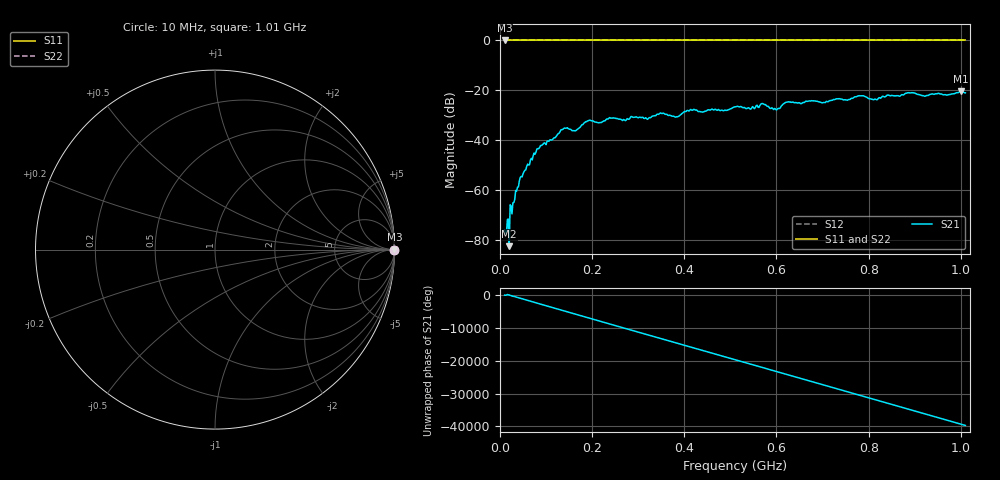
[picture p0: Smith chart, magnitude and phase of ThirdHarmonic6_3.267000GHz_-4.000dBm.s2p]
! 8/17/2025 10:05:46 AM
! C:\ANRITSUVNA\TEMP\TEMP.S2P
! CHANNEL.1
! TR.MEASUREMENT
! RAW.DATA
! RF.CORRECTION.OFF
! AVERAGING.OFF
! IF.BANDWIDTH: 5KHZ
! SWEEPTYPE:  FREQ.SWEEP(Linear)
! Reference Plane Port Info
! PORT:  PORT1  PORT2
! DISTANCE:  0  m  0  m
! TIME:  0  s  0  s
! PHASE.OFFSET:  0  deg.  0  deg.
! LOSS:  0  dB  0  dB
! REF.LOSS:  0  dB  0  dB
! REF.FREQ:  0  Hz  0  Hz
! Power Info
! POWER:  -20  dBm  -20  dBm
! EFF.POWER:  -20  dBm  -20  dBm
! SOURCE.ATTEN:  0  dB  0  dB
! TEST.ATTEN:  0  dB  0  dB
# GHZ S RI R 50.0
! FREQ.GHZ  S11RE  S11IM  S21RE  S21IM  S12RE  S12IM  S22RE  S22IM
!; PortSelection: Port_12
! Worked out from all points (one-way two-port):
!   501 points, 10 MHz to 1.01 GHz, reference 50 ohm
!   highest |S21| = -20.44 dB at 1 GHz (marker M1); lowest = -82.6 dB at 20 MHz (marker M2)
!   lowest |S11| = 0.0 dB at 10 MHz (marker M3)
!   |S11| at or under -10 dB: nowhere
!   |S22| runs from 0.0 to 0.0 dB; largest |S21 - S12| = 1.1
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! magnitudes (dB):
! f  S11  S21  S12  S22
! 10 MHz  0.0  -76.0  0.0  0.0
! 16 MHz  0.0  -71.9  0.0  0.0
! 20 MHz  0.0  -82.6  0.0  0.0
! 46 MHz  0.0  -54.6  0.0  0.0
! 84 MHz  0.0  -43.4  0.0  0.0
! 136 MHz  0.0  -35.7  0.0  0.0
! 162 MHz  0.0  -36.2  0.0  0.0
! 178 MHz  0.0  -33.8  0.0  0.0
! 194 MHz  0.0  -32.0  0.0  0.0
! 318 MHz  0.0  -31.3  0.0  0.0
! 344 MHz  0.0  -29.7  0.0  0.0
! 384 MHz  0.0  -30.6  0.0  0.0
! 410 MHz  0.0  -28.4  0.0  0.0
! 510 MHz  0.0  -26.6  0.0  0.0
! 570 MHz  0.0  -25.3  0.0  0.0
! 598 MHz  0.0  -27.5  0.0  0.0
! 624 MHz  0.0  -24.7  0.0  0.0
! 678 MHz  0.0  -24.2  0.0  0.0
! 814 MHz  0.0  -23.5  0.0  0.0
! 844 MHz  0.0  -22.0  0.0  0.0
! 1 GHz  0.0  -20.4  0.0  0.0
! 1.01 GHz  0.0  -21.0  0.0  0.0
